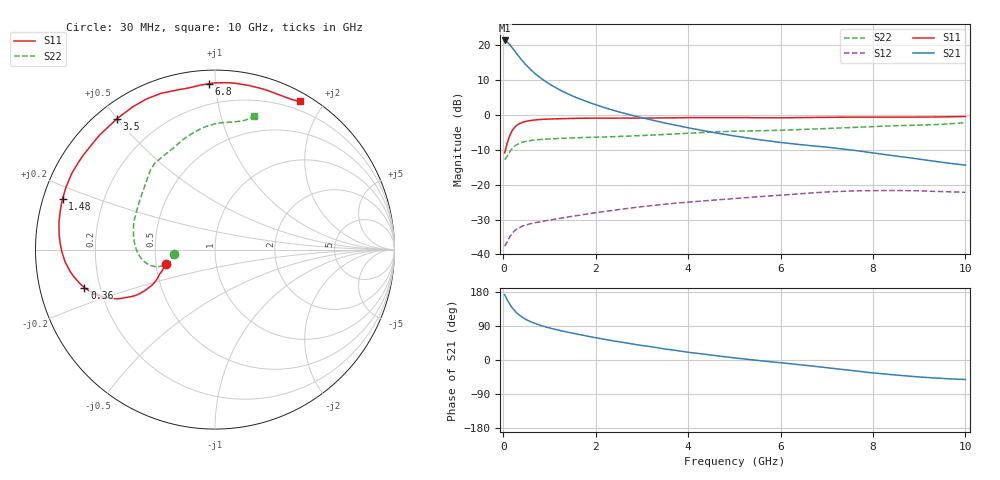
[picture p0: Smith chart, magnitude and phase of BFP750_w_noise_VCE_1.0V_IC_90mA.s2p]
! Infineon Technologies  Discrete & RF Semiconductors
! BFP750
! VCE =  1.0 V,  IC =  90 mA
! Common Emitter S-Parameters:  Jan 2016
# GHz  S  MA  R  50
!  f  S11  S21  S12  S22
! GHz  MAG  ANG  MAG  ANG  MAG  ANG  MAG  ANG
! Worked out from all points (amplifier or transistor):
!   229 points, 30 MHz to 10 GHz, reference 50 ohm
!   highest |S21| = 21.4 dB at 30 MHz (marker M1)
!   |S21| within 3 dB of that: start of sweep to 246.4 MHz
!   unconditionally stable (mu >= 1): start of sweep to end of sweep
!   at 280 MHz: K = 1.45, MAG = 21.4 dB, |S12| = -32.9 dB
!   at 1.78 GHz: K = 1.54, MAG = 11.9 dB, |S12| = -28.5 dB
!   at 10 GHz: K = 1.87, MAG = -1.5 dB, |S12| = -22.2 dB
!   lowest NFmin = 1.47 dB at 450 MHz
!   S11 on the Smith chart (normalised r, x): 30 MHz: 0.56, -0.10; 360 MHz: 0.14, -0.14; 1.48 GHz: 0.06, +0.16; 3.5 GHz: 0.06, +0.50; 6.8 GHz: 0.08, +0.96; 10 GHz: 0.10, +1.72
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0.03  0.2864 -164.2  11.77 172.6  0.0131 9.8  0.2284 -173.9
0.05  0.3177 -158.1  11.63 167.6  0.0139 14.1  0.2368 -170.0
0.09  0.4017 -150.6  11.11 158.2  0.0154 20.2  0.2607 -164.9
0.11  0.4424 -149.8  10.81 153.7  0.0163 22.3  0.2747 -163.6
0.15  0.5239 -150.3  10.1 145.6  0.0182 24.6  0.3026 -162.6
0.2  0.6069 -153.1  9.142 136.8  0.0202 25.1  0.3334 -163.3
0.24  0.6564 -155.9  8.439 131.1  0.0216 25.1  0.3533 -164.7
0.3  0.7174 -160.0  7.463 123.3  0.0232 24.5  0.3776 -167.1
0.36  0.758 -163.8  6.639 117.3  0.0245 23.7  0.395 -169.6
0.44  0.7951 -168.4  5.732 110.5  0.0258 23.0  0.4114 -172.6
0.5  0.815 -171.2  5.175 106.3  0.0265 22.6  0.4205 -174.7
0.7  0.8529 -179.1  3.873 95.7  0.0285 22.3  0.4392 179.7
1  0.8769 172.3  2.779 84.5  0.031 23.0  0.4541 173.3
1.48  0.8948 161.6  1.904 71.1  0.035 24.3  0.4693 165.6
1.7  0.8999 157.3  1.66 65.7  0.0369 24.5  0.4749 162.5
2.4  0.9033 144.6  1.16 50.1  0.043 23.9  0.489 152.4
3.4  0.9083 128.5  0.795 31.1  0.0518 20.0  0.5219 139.5
3.5  0.9107 126.9  0.768 29.0  0.0526 19.5  0.5261 138.3
5.1  0.9193 108.1  0.49 4.3  0.0641 10.9  0.5876 123.9
6.8  0.9242 92.2  0.356 -17.5  0.077 -0.9  0.632 107.4
8.4  0.9337 73.8  0.263 -38.6  0.0826 -16.5  0.7003 90.2
10  0.9525 60.1  0.191 -51.4  0.0778 -28.1  0.7755 73.9
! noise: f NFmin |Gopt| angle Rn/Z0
0.45  1.47  0.31  -169  0.33
0.9  1.48  0.4  -164  0.16
1.5  1.49  0.49  -154  0.09
1.9  1.49  0.5  -149  0.1
2.4  1.5  0.5  -142  0.12
3.5  1.74  0.51  -125  0.17
